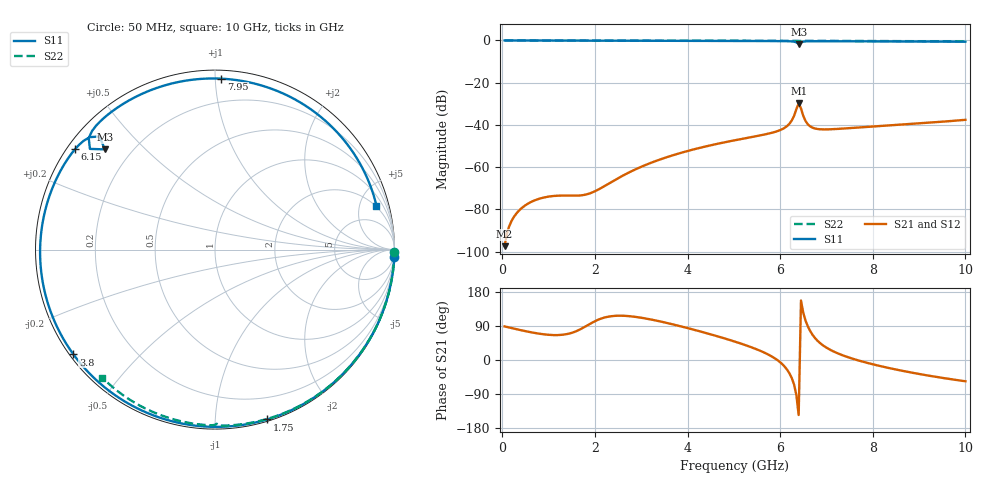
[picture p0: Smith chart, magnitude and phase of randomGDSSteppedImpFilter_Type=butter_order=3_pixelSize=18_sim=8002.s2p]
! freq	dB(S11)	phase(S11)	dB(S12)	phase(S12)
!  dB(S21)	phase(S21)	dB(S22)	phase(S22)
!S-par simulation data
#  GHz  S  DB  R 50
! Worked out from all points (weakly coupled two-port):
!   200 points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, 50 MHz to 10 GHz, reference 50 ohm
!   highest |S21| = -29.80 dB at 6.4 GHz (marker M1); lowest = -97.4 dB at 50 MHz (marker M2)
!   lowest |S11| = -1.6 dB at 6.4 GHz (marker M3), VSWR 10.73, Z = 5.35 + j19.2 ohm
!   |S11| at or under -10 dB: nowhere
!   |S22| runs from -0.4 to 0.0 dB; largest |S21 - S12| = 0
!   S11 on the Smith chart (normalised r, x): 50 MHz: 0, -52; 1.75 GHz: 0.01, -1.35; 3.8 GHz: 0.01, -0.33; 6.15 GHz: 0.02, +0.32; 7.95 GHz: 0.05, +1.04; 10 GHz: 1.86, +6.99
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0.05  -0.00 -2.2  -97.45 88.6  -97.45 88.6  -0.00 -0.8
0.4  -0.03 -17.4  -79.77 78.7  -79.77 78.7  -0.01 -6.1
0.8  -0.04 -34.5  -74.96 69.4  -74.96 69.4  -0.02 -12.1
1.75  -0.09 -73.0  -73.23 85.3  -73.23 85.3  -0.03 -26.2
2.5  -0.12 -100.6  -65.26 116.9  -65.26 116.9  -0.05 -37.1
3.4  -0.15 -130.8  -56.43 102.0  -56.43 102.0  -0.07 -49.9
3.8  -0.16 -143.5  -53.61 90.5  -53.61 90.5  -0.08 -55.4
4.45  -0.19 -163.4  -49.91 69.4  -49.91 69.4  -0.09 -64.2
5.05  -0.23 178.6  -47.15 47.5  -47.15 47.5  -0.11 -72.2
5.85  -0.29 154.2  -43.56 7.1  -43.56 7.1  -0.14 -82.5
6.15  -0.36 144.3  -40.54 -25.6  -40.54 -25.6  -0.16 -86.3
6.25  -0.44 140.4  -37.95 -47.4  -37.95 -47.4  -0.17 -87.6
6.35  -0.91 135.6  -32.55 -92.5  -32.55 -92.5  -0.20 -89.0
6.4  -1.62 137.7  -29.80 -145.2  -29.80 -145.2  -0.26 -89.5
6.45  -0.97 141.2  -32.20 157.0  -32.20 157.0  -0.23 -89.6
6.55  -0.43 136.0  -38.22 103.4  -38.22 103.4  -0.19 -90.9
6.7  -0.36 130.1  -41.32 66.4  -41.32 66.4  -0.19 -92.9
7.35  -0.38 108.2  -41.75 12.4  -41.75 12.4  -0.22 -100.8
7.95  -0.42 87.9  -40.86 -9.8  -40.86 -9.8  -0.26 -107.9
8.35  -0.44 74.0  -40.27 -21.2  -40.27 -21.2  -0.29 -112.5
9.25  -0.51 41.9  -38.91 -42.2  -38.91 -42.2  -0.37 -122.8
10  -0.61 15.2  -37.60 -56.1  -37.60 -56.1  -0.44 -131.3
